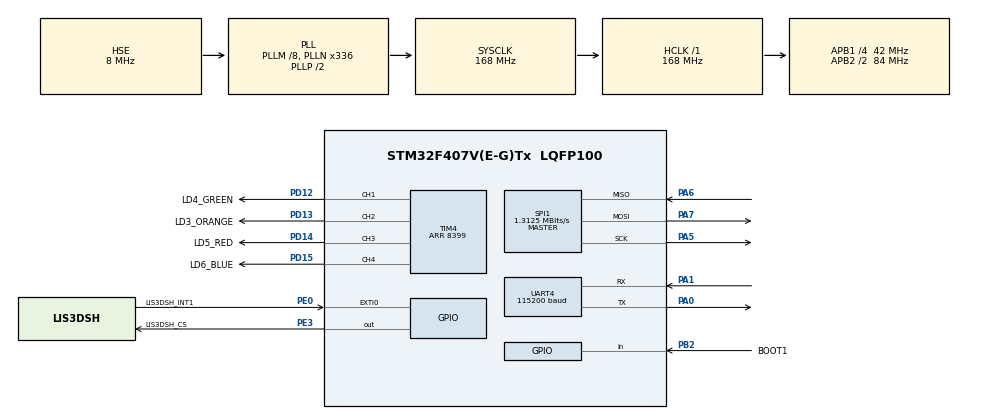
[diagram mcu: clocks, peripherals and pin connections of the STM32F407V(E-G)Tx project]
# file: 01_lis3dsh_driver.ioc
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Mcu.Family=STM32F4
Mcu.Name=STM32F407V(E-G)Tx
Mcu.Package=LQFP100
NVIC.EXTI0_IRQn=true\:0\:0\:false\:true\:true\:1\:true\:true\:true
NVIC.PriorityGroup=NVIC_PRIORITYGROUP_0
PA0-WKUP.Mode=Asynchronous
PA0-WKUP.Signal=UART4_TX
PA1.Mode=Asynchronous
PA1.Signal=UART4_RX
PA13.GPIO_Label=SWDIO
PA13.Mode=Serial_Wire
PA13.Signal=SYS_JTMS-SWDIO
PA14.GPIO_Label=SWCLK
PA14.Mode=Serial_Wire
PA14.Signal=SYS_JTCK-SWCLK
PA5.Mode=Full_Duplex_Master
PA5.Signal=SPI1_SCK
PA6.Mode=Full_Duplex_Master
PA6.Signal=SPI1_MISO
PA7.Mode=Full_Duplex_Master
PA7.Signal=SPI1_MOSI
PB2.GPIO_Label=BOOT1
PB2.GPIO_Mode=GPIO_MODE_INPUT
PB2.GPIO_PuPd=GPIO_NOPULL
PB2.Signal=GPIO_Input
PB3.GPIO_Label=SWO
PB3.Signal=SYS_JTDO-SWO
PC14-OSC32_IN.GPIO_Label=PC14-OSC32_IN
PC14-OSC32_IN.Mode=LSE-External-Oscillator
PC14-OSC32_IN.Signal=RCC_OSC32_IN
PC15-OSC32_OUT.GPIO_Label=PC15-OSC32_OUT
PC15-OSC32_OUT.Mode=LSE-External-Oscillator
PC15-OSC32_OUT.Signal=RCC_OSC32_OUT
PD12.GPIO_Label=LD4_GREEN
PD12.GPIO_Speed=GPIO_SPEED_FREQ_HIGH
PD12.Signal=S_TIM4_CH1
PD13.GPIO_Label=LD3_ORANGE
PD13.GPIO_Speed=GPIO_SPEED_FREQ_HIGH
PD13.Signal=S_TIM4_CH2
PD14.GPIO_Label=LD5_RED
PD14.GPIO_Speed=GPIO_SPEED_FREQ_HIGH
PD14.Signal=S_TIM4_CH3
PD15.GPIO_Label=LD6_BLUE
PD15.GPIO_Speed=GPIO_SPEED_FREQ_HIGH
PD15.Signal=S_TIM4_CH4
PE0.GPIO_Label=LIS3DSH_INT1
PE0.GPIO_ModeDefaultEXTI=GPIO_MODE_IT_FALLING
PE0.Signal=GPXTI0
PE3.GPIO_Label=LIS3DSH_CS
PE3.Signal=GPIO_Output
PH0-OSC_IN.GPIO_Label=PH0-OSC_IN
PH0-OSC_IN.Mode=HSE-External-Oscillator
PH0-OSC_IN.Signal=RCC_OSC_IN
PH1-OSC_OUT.GPIO_Label=PH1-OSC_OUT
PH1-OSC_OUT.Mode=HSE-External-Oscillator
PH1-OSC_OUT.Signal=RCC_OSC_OUT
ProjectManager.HeapSize=0x200
ProjectManager.StackSize=0x400
ProjectManager.TargetToolchain=STM32CubeIDE
RCC.48MHZClocksFreq_Value=48000000
RCC.AHBFreq_Value=168000000
RCC.APB1CLKDivider=RCC_HCLK_DIV4
RCC.APB1Freq_Value=42000000
RCC.APB1TimFreq_Value=84000000
RCC.APB2CLKDivider=RCC_HCLK_DIV2
RCC.APB2Freq_Value=84000000
RCC.APB2TimFreq_Value=168000000
RCC.CortexFreq_Value=168000000
RCC.HCLKFreq_Value=168000000
RCC.HSE_VALUE=8000000
RCC.HSI_VALUE=16000000
RCC.PLLM=8
RCC.PLLN=336
RCC.PLLQ=7
RCC.PLLSourceVirtual=RCC_PLLSOURCE_HSE
RCC.SYSCLKFreq_VALUE=168000000
RCC.SYSCLKSource=RCC_SYSCLKSOURCE_PLLCLK
RCC.VCOOutputFreq_Value=336000000
SH.S_TIM4_CH1.0=TIM4_CH1,PWM Generation1 CH1
SH.S_TIM4_CH2.0=TIM4_CH2,PWM Generation2 CH2
SH.S_TIM4_CH3.0=TIM4_CH3,PWM Generation3 CH3
SH.S_TIM4_CH4.0=TIM4_CH4,PWM Generation4 CH4
SPI1.BaudRatePrescaler=SPI_BAUDRATEPRESCALER_64
SPI1.CLKPhase=SPI_PHASE_2EDGE
SPI1.CLKPolarity=SPI_POLARITY_HIGH
SPI1.CalculateBaudRate=1.3125 MBits/s
SPI1.DataSize=SPI_DATASIZE_8BIT
SPI1.Direction=SPI_DIRECTION_2LINES
SPI1.Mode=SPI_MODE_MASTER
SPI1.VirtualType=VM_MASTER
TIM4.Channel-PWM\ Generation1\ CH1=TIM_CHANNEL_1
TIM4.Channel-PWM\ Generation2\ CH2=TIM_CHANNEL_2
TIM4.Channel-PWM\ Generation3\ CH3=TIM_CHANNEL_3
TIM4.Channel-PWM\ Generation4\ CH4=TIM_CHANNEL_4
TIM4.Period=8399
TIM4.Pulse-PWM\ Generation3\ CH3=0
TIM4.Pulse-PWM\ Generation4\ CH4=0
UART4.BaudRate=115200
UART4.Mode=MODE_TX
UART4.VirtualMode=Asynchronous
UART4.WordLength=WORDLENGTH_8B
board=STM32F407G-DISC1

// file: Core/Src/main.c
/* USER CODE BEGIN Header */
/**
 ******************************************************************************
 * @file           : main.c
 * @brief          : Main program body
 ******************************************************************************
 * @attention
 *
 * <h2><center>&copy; Copyright (c) 2021 STMicroelectronics.
 * All rights reserved.</center></h2>
 *
 * This software component is licensed by ST under Ultimate Liberty license
 * SLA0044, the "License"; You may not use this file except in compliance with
 * the License. You may obtain a copy of the License at:
 *                             www.st.com/SLA0044
 *
 ******************************************************************************
 */
/* USER CODE END Header */
#include "main.h"

/* USER CODE BEGIN Includes */
#include <LIS3DSH.h>
#include <stdio.h>
#include "serial.h"
#include "string.h"

/* USER CODE END Includes */

SPI_HandleTypeDef hspi1;

TIM_HandleTypeDef htim4;

UART_HandleTypeDef huart4;

/* USER CODE BEGIN PV */
t_s_lis3dsh_init l_s_lis3dsh_init;
t_s_lis3dsh_interrupt l_s_lis3dsh_interrupt;

t_e_lis3dsh_error l_e_error;

t_e_bool l_e_axis_ready;

/* USER CODE END PV */

void SystemClock_Config(void);
static void MX_GPIO_Init(void);
static void MX_SPI1_Init(void);
static void MX_TIM4_Init(void);
static void MX_UART4_Init(void);
static void MX_NVIC_Init(void);

int main(void)
{
  /* USER CODE BEGIN 1 */
	uint8_t str_uart_msg[SERIAL_MAX_MSG_SIZE] = "";
	uint16_t msg_size = 0;
	uint8_t l_v_init_try = 0;

	int16_t l_a_axis[3] = {0x00, 0x00, 0x00};
	float l_a_accelerations[3] = {0.0f, 0.0f, 0.0f};

	uint16_t l_v_offset = 200;

  /* USER CODE END 1 */

  /* MCU Configuration--------------------------------------------------------*/

  /* Reset of all peripherals, Initializes the Flash interface and the Systick. */
  HAL_Init();

  /* USER CODE BEGIN Init */
	HAL_Delay(100);

	l_s_lis3dsh_interrupt.dataReadyEnable = LIS3DSH_CTRL_REG3_DR_EN;
	l_s_lis3dsh_interrupt.int1_enable = LIS3DSH_CTRL_REG3_INT1_EN;
	l_s_lis3dsh_interrupt.latching = LIS3DSH_CTRL_REG3_IEL_LATCH;
	l_s_lis3dsh_interrupt.polarity = LIS3DSH_CTRL_REG3_IEA_HIGH;

	l_s_lis3dsh_init.SPI_Mode = LIS3DSH_CTRL_REG5_SIM_4WIRE;
	l_s_lis3dsh_init.dataRate = LIS3DSH_CTRL_REG4_ODR_100;
	l_s_lis3dsh_init.dataUpdate = LIS3DSH_CTRL_REG4_BDU_EN;
	l_s_lis3dsh_init.full_scale = LIS3DSH_CTRL_REG5_FSCALE_2;
	l_s_lis3dsh_init.x_enable = LIS3DSH_CTRL_REG4_XEN_EN;
	l_s_lis3dsh_init.y_enable = LIS3DSH_CTRL_REG4_YEN_EN;
	l_s_lis3dsh_init.z_enable = LIS3DSH_CTRL_REG4_ZEN_EN;
	l_s_lis3dsh_init.int_struct = &l_s_lis3dsh_interrupt;

  /* USER CODE END Init */

  /* Configure the system clock */
  SystemClock_Config();

  /* Initialize all configured peripherals */
  MX_GPIO_Init();
  MX_SPI1_Init();
  MX_TIM4_Init();
  MX_UART4_Init();

  /* Initialize interrupts */
  MX_NVIC_Init();
  /* USER CODE BEGIN 2 */

	HAL_TIM_PWM_Start(&htim4, TIM_CHANNEL_1);
	HAL_TIM_PWM_Start(&htim4, TIM_CHANNEL_2);
	HAL_TIM_PWM_Start(&htim4, TIM_CHANNEL_3);
	HAL_TIM_PWM_Start(&htim4, TIM_CHANNEL_4);

	do{
		l_e_error = LIS3DSH_Init(&hspi1, GPIOE, GPIO_PIN_3, &l_s_lis3dsh_init);
	}while(l_e_error != LIS3DSH_OK && l_v_init_try < 3);

	if(l_e_error != LIS3DSH_OK)
	{
		__HAL_TIM_SET_COMPARE(&htim4, TIM_CHANNEL_3, 8399); // If init KO, light RED LED ON.
		return l_e_error;
	}

	l_e_axis_ready = FALSE;

  /* USER CODE END 2 */

  /* Infinite loop */
	while (1)
	{

    /* USER CODE BEGIN 3 */

		__HAL_TIM_SET_COMPARE(&htim4, TIM_CHANNEL_1, 0);
		__HAL_TIM_SET_COMPARE(&htim4, TIM_CHANNEL_2, 0);
		__HAL_TIM_SET_COMPARE(&htim4, TIM_CHANNEL_3, 0);
		__HAL_TIM_SET_COMPARE(&htim4, TIM_CHANNEL_4, 0);

		if(l_e_axis_ready == TRUE)
		{
			LIS3DSH_Get_axis(&hspi1, l_a_axis);
			LIS3DSH_Get_accelerations(&hspi1, l_a_accelerations);

			if(l_a_axis[0] > l_v_offset)
			{
				__HAL_TIM_SET_COMPARE(&htim4, TIM_CHANNEL_3, ((float)l_a_axis[0] / 16384) * 6299);
			}
			else if(l_a_axis[0] < -l_v_offset)
			{
				__HAL_TIM_SET_COMPARE(&htim4, TIM_CHANNEL_1, ((float)-l_a_axis[0] / 16384) * 6299);
			}

			if(l_a_axis[1] > l_v_offset)
			{
				__HAL_TIM_SET_COMPARE(&htim4, TIM_CHANNEL_2, ((float)l_a_axis[1] / 16384) * 6299);
			}
			else if(l_a_axis[1] < -l_v_offset)
			{
				__HAL_TIM_SET_COMPARE(&htim4, TIM_CHANNEL_4, ((float)-l_a_axis[1] / 16384) * 6299);
			}

			l_e_axis_ready = FALSE;

			sprintf(str_uart_msg, "s;x=%f;y=%f\r\n", l_a_accelerations[0], l_a_accelerations[1]);
			msg_size = strlen(str_uart_msg) + 1;

			serial_send_string(&huart4, &str_uart_msg[0], msg_size);

			str_uart_msg[0] = '\0';
		}

		HAL_Delay(10);
	}
  /* USER CODE END 3 */
}

void SystemClock_Config(void)
{
  RCC_OscInitTypeDef RCC_OscInitStruct = {0};
  RCC_ClkInitTypeDef RCC_ClkInitStruct = {0};

  /** Configure the main internal regulator output voltage
  */
  __HAL_RCC_PWR_CLK_ENABLE();
  __HAL_PWR_VOLTAGESCALING_CONFIG(PWR_REGULATOR_VOLTAGE_SCALE1);

  /** Initializes the RCC Oscillators according to the specified parameters
  * in the RCC_OscInitTypeDef structure.
  */
  RCC_OscInitStruct.OscillatorType = RCC_OSCILLATORTYPE_HSE;
  RCC_OscInitStruct.HSEState = RCC_HSE_ON;
  RCC_OscInitStruct.PLL.PLLState = RCC_PLL_ON;
  RCC_OscInitStruct.PLL.PLLSource = RCC_PLLSOURCE_HSE;
  RCC_OscInitStruct.PLL.PLLM = 8;
  RCC_OscInitStruct.PLL.PLLN = 336;
  RCC_OscInitStruct.PLL.PLLP = RCC_PLLP_DIV2;
  RCC_OscInitStruct.PLL.PLLQ = 7;
  if (HAL_RCC_OscConfig(&RCC_OscInitStruct) != HAL_OK)
  {
    Error_Handler();
  }

  /** Initializes the CPU, AHB and APB buses clocks
  */
  RCC_ClkInitStruct.ClockType = RCC_CLOCKTYPE_HCLK|RCC_CLOCKTYPE_SYSCLK
                              |RCC_CLOCKTYPE_PCLK1|RCC_CLOCKTYPE_PCLK2;
  RCC_ClkInitStruct.SYSCLKSource = RCC_SYSCLKSOURCE_PLLCLK;
  RCC_ClkInitStruct.AHBCLKDivider = RCC_SYSCLK_DIV1;
  RCC_ClkInitStruct.APB1CLKDivider = RCC_HCLK_DIV4;
  RCC_ClkInitStruct.APB2CLKDivider = RCC_HCLK_DIV2;

  if (HAL_RCC_ClockConfig(&RCC_ClkInitStruct, FLASH_LATENCY_5) != HAL_OK)
  {
    Error_Handler();
  }
}

/**
  * @brief NVIC Configuration.
  * @retval None
  */
static void MX_NVIC_Init(void)
{
  /* EXTI0_IRQn interrupt configuration */
  HAL_NVIC_SetPriority(EXTI0_IRQn, 0, 0);
  HAL_NVIC_EnableIRQ(EXTI0_IRQn);
}

static void MX_SPI1_Init(void)
{

  /* SPI1 parameter configuration*/
  hspi1.Instance = SPI1;
  hspi1.Init.Mode = SPI_MODE_MASTER;
  hspi1.Init.Direction = SPI_DIRECTION_2LINES;
  hspi1.Init.DataSize = SPI_DATASIZE_8BIT;
  hspi1.Init.CLKPolarity = SPI_POLARITY_HIGH;
  hspi1.Init.CLKPhase = SPI_PHASE_2EDGE;
  hspi1.Init.NSS = SPI_NSS_SOFT;
  hspi1.Init.BaudRatePrescaler = SPI_BAUDRATEPRESCALER_64;
  hspi1.Init.FirstBit = SPI_FIRSTBIT_MSB;
  hspi1.Init.TIMode = SPI_TIMODE_DISABLE;
  hspi1.Init.CRCCalculation = SPI_CRCCALCULATION_DISABLE;
  hspi1.Init.CRCPolynomial = 10;
  if (HAL_SPI_Init(&hspi1) != HAL_OK)
  {
    Error_Handler();
  }

}

static void MX_TIM4_Init(void)
{

  TIM_MasterConfigTypeDef sMasterConfig = {0};
  TIM_OC_InitTypeDef sConfigOC = {0};

  htim4.Instance = TIM4;
  htim4.Init.Prescaler = 0;
  htim4.Init.CounterMode = TIM_COUNTERMODE_UP;
  htim4.Init.Period = 8399;
  htim4.Init.ClockDivision = TIM_CLOCKDIVISION_DIV1;
  htim4.Init.AutoReloadPreload = TIM_AUTORELOAD_PRELOAD_DISABLE;
  if (HAL_TIM_PWM_Init(&htim4) != HAL_OK)
  {
    Error_Handler();
  }
  sMasterConfig.MasterOutputTrigger = TIM_TRGO_RESET;
  sMasterConfig.MasterSlaveMode = TIM_MASTERSLAVEMODE_DISABLE;
  if (HAL_TIMEx_MasterConfigSynchronization(&htim4, &sMasterConfig) != HAL_OK)
  {
    Error_Handler();
  }
  sConfigOC.OCMode = TIM_OCMODE_PWM1;
  sConfigOC.Pulse = 0;
  sConfigOC.OCPolarity = TIM_OCPOLARITY_HIGH;
  sConfigOC.OCFastMode = TIM_OCFAST_DISABLE;
  if (HAL_TIM_PWM_ConfigChannel(&htim4, &sConfigOC, TIM_CHANNEL_1) != HAL_OK)
  {
    Error_Handler();
  }
  if (HAL_TIM_PWM_ConfigChannel(&htim4, &sConfigOC, TIM_CHANNEL_2) != HAL_OK)
  {
    Error_Handler();
  }
  if (HAL_TIM_PWM_ConfigChannel(&htim4, &sConfigOC, TIM_CHANNEL_3) != HAL_OK)
  {
    Error_Handler();
  }
  if (HAL_TIM_PWM_ConfigChannel(&htim4, &sConfigOC, TIM_CHANNEL_4) != HAL_OK)
  {
    Error_Handler();
  }
  HAL_TIM_MspPostInit(&htim4);

}

static void MX_UART4_Init(void)
{

  huart4.Instance = UART4;
  huart4.Init.BaudRate = 115200;
  huart4.Init.WordLength = UART_WORDLENGTH_8B;
  huart4.Init.StopBits = UART_STOPBITS_1;
  huart4.Init.Parity = UART_PARITY_NONE;
  huart4.Init.Mode = UART_MODE_TX;
  huart4.Init.HwFlowCtl = UART_HWCONTROL_NONE;
  huart4.Init.OverSampling = UART_OVERSAMPLING_16;
  if (HAL_UART_Init(&huart4) != HAL_OK)
  {
    Error_Handler();
  }

}

static void MX_GPIO_Init(void)
{
  GPIO_InitTypeDef GPIO_InitStruct = {0};

  /* GPIO Ports Clock Enable */
  __HAL_RCC_GPIOE_CLK_ENABLE();
  __HAL_RCC_GPIOC_CLK_ENABLE();
  __HAL_RCC_GPIOH_CLK_ENABLE();
  __HAL_RCC_GPIOA_CLK_ENABLE();
  __HAL_RCC_GPIOB_CLK_ENABLE();
  __HAL_RCC_GPIOD_CLK_ENABLE();

  /*Configure GPIO pin Output Level */
  HAL_GPIO_WritePin(LIS3DSH_CS_GPIO_Port, LIS3DSH_CS_Pin, GPIO_PIN_RESET);

  /*Configure GPIO pin : LIS3DSH_CS_Pin */
  GPIO_InitStruct.Pin = LIS3DSH_CS_Pin;
  GPIO_InitStruct.Mode = GPIO_MODE_OUTPUT_PP;
  GPIO_InitStruct.Pull = GPIO_NOPULL;
  GPIO_InitStruct.Speed = GPIO_SPEED_FREQ_LOW;
  HAL_GPIO_Init(LIS3DSH_CS_GPIO_Port, &GPIO_InitStruct);

  /*Configure GPIO pin : BOOT1_Pin */
  GPIO_InitStruct.Pin = BOOT1_Pin;
  GPIO_InitStruct.Mode = GPIO_MODE_INPUT;
  GPIO_InitStruct.Pull = GPIO_NOPULL;
  HAL_GPIO_Init(BOOT1_GPIO_Port, &GPIO_InitStruct);

  /*Configure GPIO pin : LIS3DSH_INT1_Pin */
  GPIO_InitStruct.Pin = LIS3DSH_INT1_Pin;
  GPIO_InitStruct.Mode = GPIO_MODE_IT_FALLING;
  GPIO_InitStruct.Pull = GPIO_NOPULL;
  HAL_GPIO_Init(LIS3DSH_INT1_GPIO_Port, &GPIO_InitStruct);

}

/* USER CODE BEGIN 4 */

void HAL_GPIO_EXTI_Callback(uint16_t GPIO_Pin)
{
	if(GPIO_Pin == GPIO_PIN_0)
	{
		l_e_axis_ready = TRUE;
	}
}

/* USER CODE END 4 */

void Error_Handler(void)
{
	__disable_irq();
	while (1)
	{
	}
}
